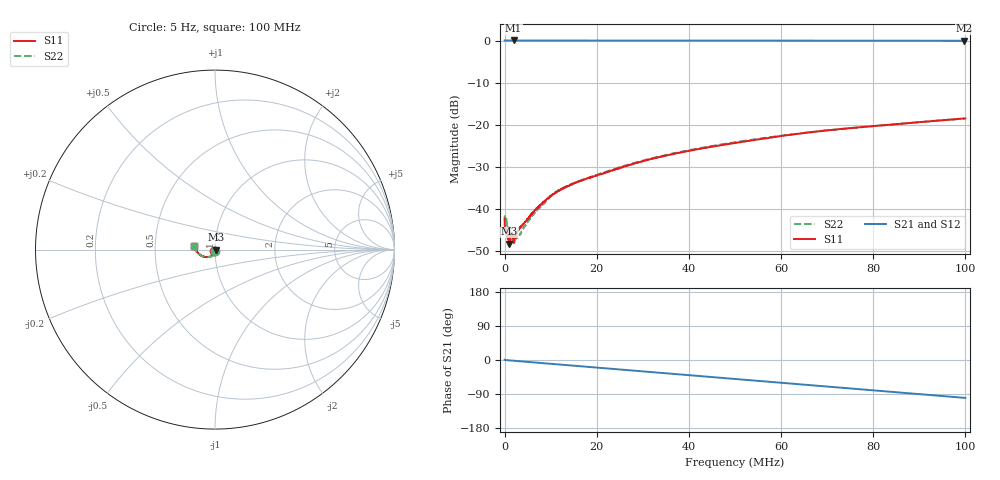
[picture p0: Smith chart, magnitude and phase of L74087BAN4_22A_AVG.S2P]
!Agilent Technologies,E5061B,MY49102235,A.02.00
!Date: Tue Jul 11 16:24:01 2023
!Data & Calibration Information:
!Freq	S11:SOLT2(ON)	S21:SOLT2(ON)	S12:SOLT2(ON)	S22:SOLT2(ON)
# Hz S RI R 50
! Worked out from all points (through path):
!   1600 points, 5 Hz to 100 MHz, reference 50 ohm
!   highest |S21| = 0.02 dB at 1.939 MHz (marker M1); lowest = -0.1 dB at 99.75 MHz (marker M2)
!   group delay of S21, straight-line fit = 2.78 ns
!   lowest |S11| = -48.2 dB at 1.001 MHz (marker M3), VSWR 1.01, Z = 50.4 - j0.0829 ohm
!   |S11| at or under -10 dB: start of sweep to end of sweep
!   |S22| runs from -48.8 to -18.5 dB; largest |S21 - S12| = 0.0026
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5  -0.00523 -0.00564  1.002 0.00805  1 0.0102  -0.00143 -0.00756
437778.6  0.00515 -0.000619  1.001 -0.00535  1.001 -0.00595  0.00665 -0.00226
625395.8  0.00508 -0.000658  1.002 -0.0104  1.002 -0.01  0.00611 -0.00103
1000630  0.00378 -0.000823  1.001 -0.0163  1.001 -0.016  0.00516 -0.00172
1563482  0.00436 -0.00296  1.001 -0.0262  1.001 -0.0254  0.00316 -0.00354
1938717  0.00313 -0.00241  1.002 -0.0334  1.002 -0.033  0.00342 -0.00215
2376490  0.00331 -0.0031  0.9997 -0.0411  1 -0.0414  0.00394 -0.00276
3252037  0.00424 -0.00434  0.9993 -0.0565  0.9993 -0.0564  0.00313 -0.00382
4690436  0.00373 -0.00616  0.9977 -0.0816  0.9975 -0.0817  0.00342 -0.00583
6003757  0.00331 -0.00812  0.9954 -0.1044  0.9955 -0.1043  0.00284 -0.00794
9505946  0.00145 -0.0135  0.9872 -0.1654  0.9874 -0.1651  0.000761 -0.0134
1.156974e7  -5.31e-05 -0.0164  0.9807 -0.2007  0.9805 -0.2005  -0.00104 -0.0165
1.669794e7  -0.00401 -0.0215  0.9582 -0.2876  0.9581 -0.2873  -0.00448 -0.0216
2.582865e7  -0.0115 -0.0295  0.9005 -0.4361  0.9003 -0.436  -0.00951 -0.0309
3.333334e7  -0.0205 -0.0357  0.8352 -0.5499  0.8351 -0.5497  -0.0193 -0.0369
5.003127e7  -0.0448 -0.0412  0.6412 -0.7663  0.6411 -0.7661  -0.0452 -0.0423
6.672921e7  -0.0747 -0.0346  0.3929 -0.9167  0.3932 -0.9169  -0.074 -0.0352
7.53596e7  -0.0884 -0.025  0.2508 -0.9644  0.2509 -0.9644  -0.0878 -0.026
8.33646e7  -0.0993 -0.0123  0.1141 -0.9893  0.114 -0.9894  -0.099 -0.0143
9.155722e7  -0.1093 0.00305  -0.0283 -0.9942  -0.0283 -0.9944  -0.1094 -0.000142
9.974984e7  -0.1172 0.0202  -0.1694 -0.9788  -0.1692 -0.9791  -0.1171 0.0173
1e8  -0.1173 0.0207  -0.1737 -0.9782  -0.1735 -0.9784  -0.1175 0.018
